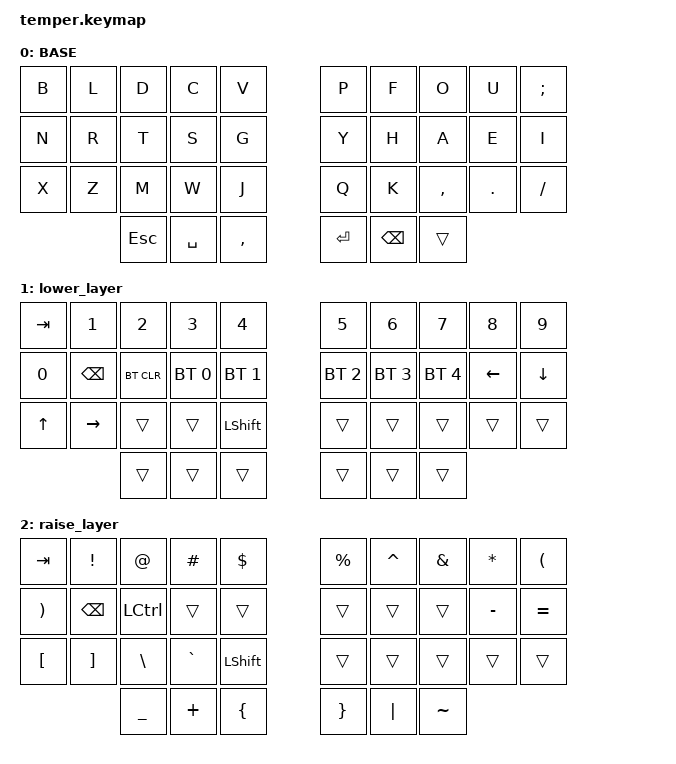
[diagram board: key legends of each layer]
/*
 * Copyright (c) 2020 The ZMK Contributors
 *
 * SPDX-License-Identifier: MIT
 */

#include <behaviors.dtsi>
#include <dt-bindings/zmk/bt.h>
#include <dt-bindings/zmk/keys.h>

/ {
    keymap {
        compatible = "zmk,keymap";

        BASE {
            // -----------------------------------------------------------------------------------------
            // |  TAB |  Q  |  W  |  E  |  R  |  T  |   |  Y  |  U   |  I  |  O  |  P  | BSPC |
            // | CTRL |  A  |  S  |  D  |  F  |  G  |   |  H  |  J   |  K  |  L  |  ;  |  '   |
            // | SHFT |  Z  |  X  |  C  |  V  |  B  |   |  N  |  M   |  ,  |  .  |  /  | ESC  |
            //                    | GUI | LWR | SPC |   | ENT | RSE  | ALT |

            bindings = <
  &kp B  &kp L  &kp D       &kp C      &kp V        &kp P      &kp F          &kp O      &kp U       &kp SEMICOLON
  &kp N  &kp R  &kp T       &kp S      &kp G        &kp Y      &kp H          &kp A      &kp E       &kp I
  &kp X  &kp Z  &kp M       &kp W      &kp J        &kp Q      &kp K          &kp COMMA  &kp PERIOD  &kp SLASH
                &kp ESCAPE  &kp SPACE  &kp COMMA    &kp ENTER  &kp BACKSPACE  &trans
            >;
        };

        lower_layer {
            // -----------------------------------------------------------------------------------------
            // |  TAB |  1  |  2  |  3  |  4  |  5  |   |  6  |  7  |  8  |  9  |  0  | BSPC |
            // | BTCLR| BT1 | BT2 | BT3 | BT4 | BT5 |   | LFT | DWN |  UP | RGT |     |      |
            // | SHFT |     |     |     |     |     |   |     |     |     |     |     |      |
            //                    | GUI |     | SPC |   | ENT |     | ALT |

            bindings = <
  &kp TAB  &kp N1     &kp N2      &kp N3        &kp N4          &kp N5        &kp N6        &kp N7        &kp N8    &kp N9
  &kp N0   &kp BSPC   &bt BT_CLR  &bt BT_SEL 0  &bt BT_SEL 1    &bt BT_SEL 2  &bt BT_SEL 3  &bt BT_SEL 4  &kp LEFT  &kp DOWN
  &kp UP   &kp RIGHT  &trans      &trans        &kp LSHFT       &trans        &trans        &trans        &trans    &trans
                      &trans      &trans        &trans          &trans        &trans        &trans
            >;
        };

        raise_layer {
            // -----------------------------------------------------------------------------------------
            // |  TAB |  !  |  @  |  #  |  $  |  %  |   |  ^  |  &  |  *  |  (  |  )  | BSPC |
            // | CTRL |     |     |     |     |     |   |  -  |  =  |  [  |  ]  |  \  |  `   |
            // | SHFT |     |     |     |     |     |   |  _  |  +  |  {  |  }  | "|" |  ~   |
            //                    | GUI |     | SPC |   | ENT |     | ALT |

            bindings = <
  &kp TAB   &kp EXCL  &kp AT     &kp HASH   &kp DLLR     &kp PRCNT  &kp CARET  &kp AMPS   &kp ASTRK  &kp LPAR
  &kp RPAR  &kp BSPC  &kp LCTRL  &trans     &trans       &trans     &trans     &trans     &kp MINUS  &kp EQUAL
  &kp LBKT  &kp RBKT  &kp BSLH   &kp GRAVE  &kp LSHFT    &trans     &trans     &trans     &trans     &trans
                      &kp UNDER  &kp PLUS   &kp LBRC     &kp RBRC   &kp PIPE   &kp TILDE
            >;
        };
    };
};
